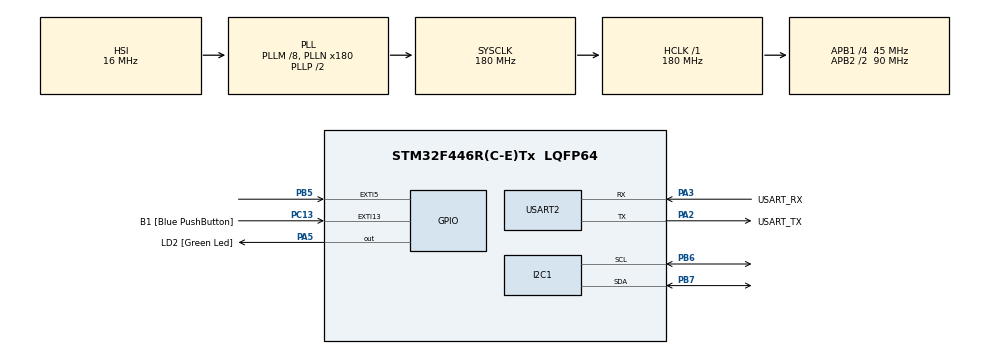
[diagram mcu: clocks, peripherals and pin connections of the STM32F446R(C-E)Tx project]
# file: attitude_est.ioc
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Mcu.Family=STM32F4
Mcu.Name=STM32F446R(C-E)Tx
Mcu.Package=LQFP64
NVIC.EXTI9_5_IRQn=true\:0\:0\:false\:false\:true\:true\:true\:true
NVIC.PriorityGroup=NVIC_PRIORITYGROUP_0
PA13.GPIO_Label=TMS
PA13.Mode=Serial_Wire
PA13.Signal=SYS_JTMS-SWDIO
PA14.GPIO_Label=TCK
PA14.Mode=Serial_Wire
PA14.Signal=SYS_JTCK-SWCLK
PA2.GPIO_Label=USART_TX
PA2.Mode=Asynchronous
PA2.Signal=USART2_TX
PA3.GPIO_Label=USART_RX
PA3.Mode=Asynchronous
PA3.Signal=USART2_RX
PA5.GPIO_Label=LD2 [Green Led]
PA5.Signal=GPIO_Output
PB3.GPIO_Label=SWO
PB3.Signal=SYS_JTDO-SWO
PB5.GPIO_PuPd=GPIO_PULLDOWN
PB5.Signal=GPXTI5
PB6.Mode=I2C
PB6.Signal=I2C1_SCL
PB7.Mode=I2C
PB7.Signal=I2C1_SDA
PC13.GPIO_Label=B1 [Blue PushButton]
PC13.GPIO_ModeDefaultEXTI=GPIO_MODE_IT_FALLING
PC13.Signal=GPXTI13
PC14-OSC32_IN.Mode=LSE-External-Oscillator
PC14-OSC32_IN.Signal=RCC_OSC32_IN
PC15-OSC32_OUT.Mode=LSE-External-Oscillator
PC15-OSC32_OUT.Signal=RCC_OSC32_OUT
PH0-OSC_IN.Mode=HSE-External-Oscillator
PH0-OSC_IN.Signal=RCC_OSC_IN
PH1-OSC_OUT.Mode=HSE-External-Oscillator
PH1-OSC_OUT.Signal=RCC_OSC_OUT
ProjectManager.HeapSize=0x200
ProjectManager.StackSize=0x400
ProjectManager.TargetToolchain=STM32CubeIDE
RCC.48MHZClocksFreq_Value=84000000
RCC.AHBFreq_Value=180000000
RCC.APB1CLKDivider=RCC_HCLK_DIV4
RCC.APB1Freq_Value=45000000
RCC.APB1TimFreq_Value=90000000
RCC.APB2CLKDivider=RCC_HCLK_DIV2
RCC.APB2Freq_Value=90000000
RCC.APB2TimFreq_Value=180000000
RCC.CortexFreq_Value=180000000
RCC.FLatency-AdvancedSettings=FLASH_LATENCY_5
RCC.HCLKFreq_Value=180000000
RCC.HSE_VALUE=8000000
RCC.HSI_VALUE=16000000
RCC.PLLM=8
RCC.PLLN=180
RCC.SYSCLKFreq_VALUE=180000000
RCC.SYSCLKSource=RCC_SYSCLKSOURCE_PLLCLK
RCC.USBFreq_Value=180000000
RCC.VCOOutputFreq_Value=360000000
USART2.VirtualMode=VM_ASYNC
board=NUCLEO-F446RE

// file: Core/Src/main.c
/* USER CODE BEGIN Header */
/**
  ******************************************************************************
  * @file           : main.c
  * @brief          : Main program body
  ******************************************************************************
  * @attention
  *
  * Copyright (c) 2026 STMicroelectronics.
  * All rights reserved.
  *
  * This software is licensed under terms that can be found in the LICENSE file
  * in the root directory of this software component.
  * If no LICENSE file comes with this software, it is provided AS-IS.
  *
  ******************************************************************************
  */
/* USER CODE END Header */
#include "main.h"

/* USER CODE BEGIN Includes */
#include <string.h>
#include <stdio.h>
#include <math.h>
/* USER CODE END Includes */

/* USER CODE BEGIN PD */

#define ALPHA 0.005

/* USER CODE END PD */

I2C_HandleTypeDef hi2c1;

UART_HandleTypeDef huart2;

/* USER CODE BEGIN PV */

uint8_t gyr_data[2] = {0x11, 0x14};

uint8_t acc_data[2] = {0x10, 0x1C};

uint8_t int1_ctrl[2] = {0x0D, 0x03};

uint8_t ctrl3_data[2] = {0x12, 0x44};

uint8_t ctrl4_data[2] = {0x13, 0x08};

uint8_t READ_REGSTER = 0x22;

uint8_t status = 0;

uint8_t read[12];

uint32_t last_tick = 0;

float phi = 0.0;

float theta = 0.0;

float gyro_phi = 0.0;

float gyro_theta = 0.0;

volatile uint8_t data_ready = 0;

float XYZ_Data[6];

char buf[150];

float matrix[3][3];

float phidot;

float thetadot;

float psidot;

double roll_deg = 0;

double pitch_deg = 0;

/* USER CODE END PV */

void SystemClock_Config(void);
static void MX_GPIO_Init(void);
static void MX_I2C1_Init(void);
static void MX_USART2_UART_Init(void);
/* USER CODE BEGIN PFP */

void Process_Data(uint8_t *data, float *returnData){

	returnData[0] = (int16_t)(data[1] << 8 | data[0]) * 0.0175 * (M_PI / 180.0); // X val of gyroscope
	returnData[1] = (int16_t)(data[3] << 8 | data[2]) * 0.0175 * (M_PI / 180.0); // Y val of gyroscope
	returnData[2] = (int16_t)(data[5] << 8 | data[4]) * 0.0175 * (M_PI / 180.0); // Z val of gyroscope

	returnData[3] = (int16_t)(data[7] << 8 | data[6]) * 0.000244; // X val of acc
	returnData[4] = (int16_t)(data[9] << 8 | data[8]) * 0.000244; // Y val of acc
	returnData[5] = (int16_t)(data[11] << 8 | data[10]) * 0.000244; // Z val of acc
}

void Update_Matrix(void){
    matrix[0][0] = 1;
    matrix[0][1] = sinf(phi) * tanf(theta);
    matrix[0][2] = cosf(phi) * tanf(theta);

    matrix[1][0] = 0;
    matrix[1][1] = cosf(phi);
    matrix[1][2] = -sinf(phi);

    matrix[2][0] = 0;
    matrix[2][1] = sinf(phi) / cosf(theta);
    matrix[2][2] = cosf(phi) / cosf(theta);
}

void Euler_Angles(float p, float q, float r){

	Update_Matrix();

	phidot = p*matrix[0][0] + q*matrix[0][1] + r*matrix[0][2];
	thetadot = p*matrix[1][0] + q*matrix[1][1] + r*matrix[1][2];
	psidot = p* matrix[2][0] + q*matrix[2][1] + r*matrix[2][2];

}

void Update_Integral_Gyro(float x, float y, float z){

	Euler_Angles(x, y, z);

	uint32_t now = HAL_GetTick();
	float dt = ((float)now - (float)last_tick) / 1000.0;
	last_tick = now;

	gyro_phi = gyro_phi + (phidot * dt);
	gyro_theta = gyro_theta + (thetadot * dt);
}

void Complementary_Filter(float *data){

	float acc_phi_est = atan2f((float)data[4], sqrtf((float)data[3]*(float)data[3]+(float)data[5]*(float)data[5])); //get the estimated acc value data[4] acc y data[5] is acc z
	float acc_theta_est = asinf(-data[3]);
	Update_Integral_Gyro(data[0], data[1], data[2]);

	theta = (acc_theta_est) * ALPHA + ((1-ALPHA) * gyro_theta);
	phi = (acc_phi_est * ALPHA + ((1-ALPHA) * gyro_phi));

	roll_deg = phi * 180/M_PI;
	pitch_deg = theta * 180/M_PI;
}

/* USER CODE END PFP */

int main(void)
{

  /* MCU Configuration--------------------------------------------------------*/

  /* Reset of all peripherals, Initializes the Flash interface and the Systick. */
  HAL_Init();

  /* Configure the system clock */
  SystemClock_Config();

  /* Initialize all configured peripherals */
  MX_GPIO_Init();
  MX_I2C1_Init();
  MX_USART2_UART_Init();
  /* USER CODE BEGIN 2 */
  HAL_Delay(20);
  HAL_I2C_Master_Transmit(&hi2c1, 0x6B << 1, &READ_REGSTER, 1, 100);
  HAL_I2C_Master_Receive(&hi2c1, 0x6B << 1, read, 12, 100);
  HAL_I2C_Master_Transmit(&hi2c1, 0x6B << 1, ctrl3_data, 2, 100);
  HAL_I2C_Master_Transmit(&hi2c1, 0x6B << 1, ctrl4_data, 2, 100);
  HAL_I2C_Master_Transmit(&hi2c1, 0x6B << 1, int1_ctrl, 2, 100);
  HAL_I2C_Master_Transmit(&hi2c1, 0x6B << 1, acc_data, 2, 100);//write to set high performance mode for both gyroscope and acc
  HAL_I2C_Master_Transmit(&hi2c1, 0x6B << 1, gyr_data, 2, 100);

  HAL_I2C_Master_Transmit(&hi2c1, 0x6B << 1 ,&READ_REGSTER, 1, 100);// send register that we are going to start reading from
  HAL_I2C_Master_Receive(&hi2c1, 0x6B << 1, read, 12, 100);// read the incoming data
  Process_Data(read, XYZ_Data);

  phi = atan2f(XYZ_Data[4], XYZ_Data[5]); //set starting roll value
  theta = asinf(-XYZ_Data[3]);//set starting pitch value

  gyro_phi = phi;
  gyro_theta = theta;
  /* USER CODE END 2 */

  /* Infinite loop */
  /* USER CODE BEGIN WHILE */
  while (1)
  {
	  if(data_ready){
		  HAL_GPIO_TogglePin(LD2_GPIO_Port, LD2_Pin);
		  data_ready = 0;
		  HAL_I2C_Master_Transmit(&hi2c1, 0x6B << 1 ,&READ_REGSTER, 1, 100);// send register that we are going to start reading from
		  HAL_I2C_Master_Receive(&hi2c1, 0x6B << 1, read, 12, 100);// read the incoming data

		  Process_Data(read, XYZ_Data);
		  sprintf(buf, "%.2f,%.2f\n", pitch_deg, roll_deg);
		  HAL_UART_Transmit(&huart2, (uint8_t*)buf, strlen(buf), 100);
		  Complementary_Filter(XYZ_Data);
	  }

/*
	    HAL_I2C_Master_Transmit(&hi2c1, 0x6B << 1, &READ_REGSTER, 1, 100);
	    HAL_I2C_Master_Receive(&hi2c1, 0x6B << 1, read, 12, 100);
	    Process_Data(read, XYZ_Data);
	    sprintf(buf, "GX:%.2f GY:%.2f GZ:%.2f AX:%.2f AY:%.2f AZ:%.2f\r\n",
	        XYZ_Data[0], XYZ_Data[1], XYZ_Data[2],
	        XYZ_Data[3], XYZ_Data[4], XYZ_Data[5]);
	    HAL_UART_Transmit(&huart2, (uint8_t*)buf, strlen(buf), 100);
	    HAL_Delay(100);
*/

    /* USER CODE END WHILE */

  }
}

void SystemClock_Config(void)
{
  RCC_OscInitTypeDef RCC_OscInitStruct = {0};
  RCC_ClkInitTypeDef RCC_ClkInitStruct = {0};

  /** Configure the main internal regulator output voltage
  */
  __HAL_RCC_PWR_CLK_ENABLE();
  __HAL_PWR_VOLTAGESCALING_CONFIG(PWR_REGULATOR_VOLTAGE_SCALE1);

  /** Initializes the RCC Oscillators according to the specified parameters
  * in the RCC_OscInitTypeDef structure.
  */
  RCC_OscInitStruct.OscillatorType = RCC_OSCILLATORTYPE_HSI;
  RCC_OscInitStruct.HSIState = RCC_HSI_ON;
  RCC_OscInitStruct.HSICalibrationValue = RCC_HSICALIBRATION_DEFAULT;
  RCC_OscInitStruct.PLL.PLLState = RCC_PLL_ON;
  RCC_OscInitStruct.PLL.PLLSource = RCC_PLLSOURCE_HSI;
  RCC_OscInitStruct.PLL.PLLM = 8;
  RCC_OscInitStruct.PLL.PLLN = 180;
  RCC_OscInitStruct.PLL.PLLP = RCC_PLLP_DIV2;
  RCC_OscInitStruct.PLL.PLLQ = 2;
  RCC_OscInitStruct.PLL.PLLR = 2;
  if (HAL_RCC_OscConfig(&RCC_OscInitStruct) != HAL_OK)
  {
    Error_Handler();
  }

  /** Activate the Over-Drive mode
  */
  if (HAL_PWREx_EnableOverDrive() != HAL_OK)
  {
    Error_Handler();
  }

  /** Initializes the CPU, AHB and APB buses clocks
  */
  RCC_ClkInitStruct.ClockType = RCC_CLOCKTYPE_HCLK|RCC_CLOCKTYPE_SYSCLK
                              |RCC_CLOCKTYPE_PCLK1|RCC_CLOCKTYPE_PCLK2;
  RCC_ClkInitStruct.SYSCLKSource = RCC_SYSCLKSOURCE_PLLCLK;
  RCC_ClkInitStruct.AHBCLKDivider = RCC_SYSCLK_DIV1;
  RCC_ClkInitStruct.APB1CLKDivider = RCC_HCLK_DIV4;
  RCC_ClkInitStruct.APB2CLKDivider = RCC_HCLK_DIV2;

  if (HAL_RCC_ClockConfig(&RCC_ClkInitStruct, FLASH_LATENCY_5) != HAL_OK)
  {
    Error_Handler();
  }
}

static void MX_I2C1_Init(void)
{

  hi2c1.Instance = I2C1;
  hi2c1.Init.ClockSpeed = 100000;
  hi2c1.Init.DutyCycle = I2C_DUTYCYCLE_2;
  hi2c1.Init.OwnAddress1 = 0;
  hi2c1.Init.AddressingMode = I2C_ADDRESSINGMODE_7BIT;
  hi2c1.Init.DualAddressMode = I2C_DUALADDRESS_DISABLE;
  hi2c1.Init.OwnAddress2 = 0;
  hi2c1.Init.GeneralCallMode = I2C_GENERALCALL_DISABLE;
  hi2c1.Init.NoStretchMode = I2C_NOSTRETCH_DISABLE;
  if (HAL_I2C_Init(&hi2c1) != HAL_OK)
  {
    Error_Handler();
  }

}

static void MX_USART2_UART_Init(void)
{

  huart2.Instance = USART2;
  huart2.Init.BaudRate = 115200;
  huart2.Init.WordLength = UART_WORDLENGTH_8B;
  huart2.Init.StopBits = UART_STOPBITS_1;
  huart2.Init.Parity = UART_PARITY_NONE;
  huart2.Init.Mode = UART_MODE_TX_RX;
  huart2.Init.HwFlowCtl = UART_HWCONTROL_NONE;
  huart2.Init.OverSampling = UART_OVERSAMPLING_16;
  if (HAL_UART_Init(&huart2) != HAL_OK)
  {
    Error_Handler();
  }

}

static void MX_GPIO_Init(void)
{
  GPIO_InitTypeDef GPIO_InitStruct = {0};

  /* GPIO Ports Clock Enable */
  __HAL_RCC_GPIOC_CLK_ENABLE();
  __HAL_RCC_GPIOH_CLK_ENABLE();
  __HAL_RCC_GPIOA_CLK_ENABLE();
  __HAL_RCC_GPIOB_CLK_ENABLE();

  /*Configure GPIO pin Output Level */
  HAL_GPIO_WritePin(LD2_GPIO_Port, LD2_Pin, GPIO_PIN_RESET);

  /*Configure GPIO pin : B1_Pin */
  GPIO_InitStruct.Pin = B1_Pin;
  GPIO_InitStruct.Mode = GPIO_MODE_IT_FALLING;
  GPIO_InitStruct.Pull = GPIO_NOPULL;
  HAL_GPIO_Init(B1_GPIO_Port, &GPIO_InitStruct);

  /*Configure GPIO pin : LD2_Pin */
  GPIO_InitStruct.Pin = LD2_Pin;
  GPIO_InitStruct.Mode = GPIO_MODE_OUTPUT_PP;
  GPIO_InitStruct.Pull = GPIO_NOPULL;
  GPIO_InitStruct.Speed = GPIO_SPEED_FREQ_LOW;
  HAL_GPIO_Init(LD2_GPIO_Port, &GPIO_InitStruct);

  /*Configure GPIO pin : PB5 */
  GPIO_InitStruct.Pin = GPIO_PIN_5;
  GPIO_InitStruct.Mode = GPIO_MODE_IT_RISING;
  GPIO_InitStruct.Pull = GPIO_PULLDOWN;
  HAL_GPIO_Init(GPIOB, &GPIO_InitStruct);

  /* EXTI interrupt init*/
  HAL_NVIC_SetPriority(EXTI9_5_IRQn, 0, 0);
  HAL_NVIC_EnableIRQ(EXTI9_5_IRQn);

}

/* USER CODE BEGIN 4 */

void HAL_GPIO_EXTI_Callback(uint16_t GPIO_PIN){
	data_ready = 1;
}

/* USER CODE END 4 */

void Error_Handler(void)
{
  __disable_irq();
  while (1)
  {
  }
}
